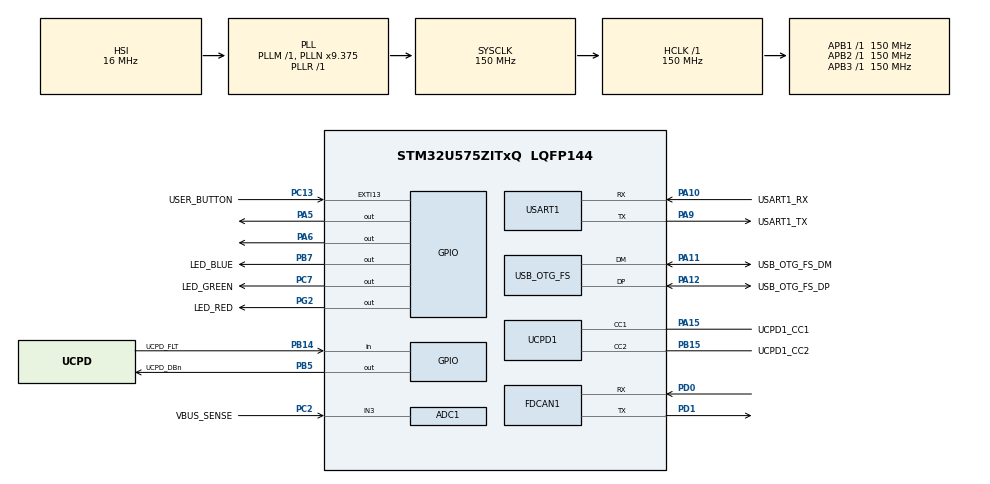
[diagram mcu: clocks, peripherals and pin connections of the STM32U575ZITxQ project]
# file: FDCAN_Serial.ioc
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ADC1.NbrOfConversion=1
ADC1.Resolution=ADC_RESOLUTION_14B
ADC1.master=1
CORTEX_M33_NS.userName=CORTEX_M33
FDCAN1.AutoRetransmission=ENABLE
FDCAN1.CalculateBaudRateNominal=500000
FDCAN1.CalculateTimeBitNominal=2000
FDCAN1.CalculateTimeQuantumNominal=100.0
FDCAN1.DataPrescaler=2
FDCAN1.DataSyncJumpWidth=11
FDCAN1.DataTimeSeg1=13
FDCAN1.DataTimeSeg2=11
FDCAN1.ExtFiltersNbr=1
FDCAN1.FrameFormat=FDCAN_FRAME_FD_BRS
FDCAN1.Mode=FDCAN_MODE_NORMAL
FDCAN1.NominalPrescaler=5
FDCAN1.NominalSyncJumpWidth=3
FDCAN1.NominalTimeSeg1=16
FDCAN1.NominalTimeSeg2=3
FDCAN1.StdFiltersNbr=1
Mcu.Family=STM32U5
Mcu.Name=STM32U575ZITxQ
Mcu.Package=LQFP144
NVIC.FDCAN1_IT0_IRQn=true\:0\:0\:false\:false\:true\:true\:true\:true
NVIC.OTG_FS_IRQn=true\:0\:0\:false\:false\:true\:true\:true\:true
NVIC.PriorityGroup=NVIC_PRIORITYGROUP_3
PA10.GPIO_Label=USART1_RX
PA10.GPIO_PuPd=GPIO_PULLDOWN
PA10.GPIO_Speed=GPIO_SPEED_FREQ_VERY_HIGH
PA10.Mode=Asynchronous
PA10.Signal=USART1_RX
PA11.GPIO_Label=USB_OTG_FS_DM
PA11.GPIO_Speed=GPIO_SPEED_FREQ_VERY_HIGH
PA11.Mode=Device_Only
PA11.Signal=USB_OTG_FS_DM
PA12.GPIO_Label=USB_OTG_FS_DP
PA12.GPIO_Speed=GPIO_SPEED_FREQ_VERY_HIGH
PA12.Mode=Device_Only
PA12.Signal=USB_OTG_FS_DP
PA13\ (JTMS/SWDIO).Mode=Trace_Asynchronous_SW
PA13\ (JTMS/SWDIO).Signal=DEBUG_JTMS-SWDIO
PA14\ (JTCK/SWCLK).Mode=Trace_Asynchronous_SW
PA14\ (JTCK/SWCLK).Signal=DEBUG_JTCK-SWCLK
PA15\ (JTDI).GPIO_Label=UCPD1_CC1
PA15\ (JTDI).Mode=Sink_AllSignals
PA15\ (JTDI).Signal=UCPD1_CC1
PA5.Signal=GPIO_Output
PA6.Signal=GPIO_Output
PA9.GPIO_Label=USART1_TX
PA9.GPIO_PuPd=GPIO_PULLDOWN
PA9.GPIO_Speed=GPIO_SPEED_FREQ_VERY_HIGH
PA9.Mode=Asynchronous
PA9.Signal=USART1_TX
PB14.GPIO_Label=UCPD_FLT
PB14.Signal=GPIO_Input
PB15.GPIO_Label=UCPD1_CC2
PB15.Mode=Sink_AllSignals
PB15.Signal=UCPD1_CC2
PB3\ (JTDO/TRACESWO).Mode=Trace_Asynchronous_SW
PB3\ (JTDO/TRACESWO).Signal=DEBUG_JTDO-SWO
PB5.GPIO_Label=UCPD_DBn
PB5.Signal=GPIO_Output
PB7.GPIO_Label=LED_BLUE
PB7.GPIO_ModeDefaultOutputPP=GPIO_MODE_OUTPUT_PP
PB7.GPIO_PuPd=GPIO_PULLUP
PB7.GPIO_Speed=GPIO_SPEED_FREQ_HIGH
PB7.Signal=GPIO_Output
PC13.GPIO_Label=USER_BUTTON
PC13.GPIO_ModeDefaultEXTI=GPIO_MODE_IT_FALLING
PC13.Signal=GPXTI13
PC14-OSC32_IN\ (PC14).Mode=LSE-External-Oscillator
PC14-OSC32_IN\ (PC14).Signal=RCC_OSC32_IN
PC15-OSC32_OUT\ (PC15).Mode=LSE-External-Oscillator
PC15-OSC32_OUT\ (PC15).Signal=RCC_OSC32_OUT
PC2.GPIO_Label=VBUS_SENSE
PC2.Mode=IN3-Single-Ended
PC2.Signal=ADC1_IN3
PC7.GPIO_Label=LED_GREEN
PC7.GPIO_PuPd=GPIO_PULLUP
PC7.GPIO_Speed=GPIO_SPEED_FREQ_HIGH
PC7.Signal=GPIO_Output
PD0.Mode=FDCAN_Activate
PD0.Signal=FDCAN1_RX
PD1.Mode=FDCAN_Activate
PD1.Signal=FDCAN1_TX
PG2.GPIO_Label=LED_RED
PG2.GPIO_ModeDefaultOutputPP=GPIO_MODE_OUTPUT_PP
PG2.GPIO_PuPd=GPIO_PULLUP
PG2.GPIO_Speed=GPIO_SPEED_FREQ_HIGH
PG2.Signal=GPIO_Output
PWR.PowerMode=PWR_SMPS_SUPPLY
ProjectManager.HeapSize=0x200
ProjectManager.StackSize=0x400
ProjectManager.TargetToolchain=STM32CubeIDE
RCC.ADCFreq_Value=16000000
RCC.AHBFreq_Value=150000000
RCC.APB1Freq_Value=150000000
RCC.APB1TimFreq_Value=150000000
RCC.APB2Freq_Value=150000000
RCC.APB2TimFreq_Value=150000000
RCC.APB3Freq_Value=150000000
RCC.CortexFreq_Value=150000000
RCC.DACCLockSelectionVirtual=RCC_DAC1CLKSOURCE_LSI
RCC.EPOD_VALUE=16000000
RCC.HCLKFreq_Value=150000000
RCC.HSE_VALUE=16000000
RCC.HSI48_VALUE=48000000
RCC.HSI_VALUE=16000000
RCC.LSIDIV_VALUE=32000
RCC.MSI_VALUE=4000000
RCC.PLL1Q=3
RCC.PLL1R=1
RCC.PLLFRACN=3072
RCC.PLLN=9
RCC.PLLSourceVirtual=RCC_PLLSOURCE_HSI
RCC.SYSCLKFreq_VALUE=150000000
RCC.SYSCLKSource=RCC_SYSCLKSOURCE_PLLCLK
RCC.USBFreq_Value=48000000
RCC.VCOOutputFreq_Value=150000000
USART1.VirtualMode-Asynchronous=VM_ASYNC
USB_OTG_FS.VirtualMode=Device_Only
VP_ICACHE_VS_ENABLE_ICACHE_MEMORY.Mode=Memoryregions
VP_ICACHE_VS_ICACHE.Mode=DirectMappedCache
VP_LPBAMQUEUE_VS_QUEUE.Mode=QUEUEMODE
VP_LPBAM_VS_SIG1.Mode=SmartRun
VP_LPBAM_VS_SIG4.Mode=LPDMA1
VP_MEMORYMAP_VS_MEMORYMAP.Mode=CurAppReg
VP_PWR_VS_DBSignals.Mode=DisableDeadBatterySignals
VP_PWR_VS_LPOM.Mode=PowerOptimisation
VP_PWR_VS_SECSignals.Mode=Security/Privilege
VP_PWR_Vdda.Mode=isolationVdda
board=NUCLEO-U575ZI-Q

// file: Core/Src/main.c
	/* USER CODE BEGIN Header */
/**
  ******************************************************************************
  * @file           : main.c
  * @brief          : Main program body
  ******************************************************************************
  * @attention
  *
  * Copyright (c) 2024 STMicroelectronics.
  * All rights reserved.
  *
  * This software is licensed under terms that can be found in the LICENSE file
  * in the root directory of this software component.
  * If no LICENSE file comes with this software, it is provided AS-IS.
  *
  ******************************************************************************
  */
/* USER CODE END Header */
#include "main.h"

/* USER CODE BEGIN Includes */
#include <stdio.h>

/* USER CODE END Includes */

ADC_HandleTypeDef hadc1;

FDCAN_HandleTypeDef hfdcan1;

UART_HandleTypeDef huart1;

PCD_HandleTypeDef hpcd_USB_OTG_FS;

/* USER CODE BEGIN PV */
FDCAN_FilterTypeDef sFilterConfig;
FDCAN_TxHeaderTypeDef TxHeader1;
FDCAN_RxHeaderTypeDef RxHeader1;
FDCAN_RxHeaderTypeDef RxHeader2;
uint8_t RxData1[64];
uint8_t RxData2[64];
HAL_StatusTypeDef CanStartStatus;

char uartBuffer[128];
/* USER CODE END PV */

void SystemClock_Config(void);
static void SystemPower_Config(void);
static void MX_GPIO_Init(void);
static void MX_ADC1_Init(void);
static void MX_ICACHE_Init(void);
static void MX_UCPD1_Init(void);
static void MX_USART1_UART_Init(void);
static void MX_USB_OTG_FS_PCD_Init(void);
static void MX_FDCAN1_Init(void);
/* USER CODE BEGIN PFP */
static uint8_t byte_to_dlc(uint8_t len);
static uint8_t dlc_to_bytes(uint8_t len);
/* USER CODE END PFP */

int main(void)
{

  /* MCU Configuration--------------------------------------------------------*/

  /* Reset of all peripherals, Initializes the Flash interface and the Systick. */
  HAL_Init();

  /* Configure the system clock */
  SystemClock_Config();

  /* Configure the System Power */
  SystemPower_Config();

  /* Initialize all configured peripherals */
  MX_GPIO_Init();
  MX_ADC1_Init();
  MX_ICACHE_Init();
  MX_UCPD1_Init();
  MX_USART1_UART_Init();
  MX_USB_OTG_FS_PCD_Init();
  MX_FDCAN1_Init();
  /* USER CODE BEGIN 2 */

  /* Configure standard ID reception filter to Rx buffer 0 */
  sFilterConfig.IdType = FDCAN_STANDARD_ID;
  sFilterConfig.FilterIndex = 0;
  sFilterConfig.FilterType = FDCAN_FILTER_RANGE;
  sFilterConfig.FilterConfig = FDCAN_FILTER_TO_RXFIFO0;
  sFilterConfig.FilterID1 = 0x000;
  sFilterConfig.FilterID2 = 0x7FF;
  if (HAL_FDCAN_ConfigFilter(&hfdcan1, &sFilterConfig) != HAL_OK)
  {
    Error_Handler();
  }

  /* Configure extended ID reception filter to Rx FIFO 1 */
  sFilterConfig.IdType = FDCAN_EXTENDED_ID;
  sFilterConfig.FilterIndex = 0;
  sFilterConfig.FilterType = FDCAN_FILTER_RANGE_NO_EIDM;
  sFilterConfig.FilterConfig = FDCAN_FILTER_TO_RXFIFO1;
  sFilterConfig.FilterID1 = 0x1111111;
  sFilterConfig.FilterID2 = 0x2222222;
  if (HAL_FDCAN_ConfigFilter(&hfdcan1, &sFilterConfig) != HAL_OK)
  {
    Error_Handler();
  }

  /* Configure global filter:
     Filter all remote frames with STD and EXT ID
     Reject non matching frames with STD ID and EXT ID */
  if (HAL_FDCAN_ConfigGlobalFilter(&hfdcan1, FDCAN_ACCEPT_IN_RX_FIFO0, FDCAN_ACCEPT_IN_RX_FIFO0, FDCAN_FILTER_REMOTE, FDCAN_FILTER_REMOTE) != HAL_OK)
  {
      Error_Handler();
  }

  /*##-2 Start FDCAN controller (continuous listening CAN bus) ##############*/
  CanStartStatus = HAL_FDCAN_Start(&hfdcan1);
  if (CanStartStatus != HAL_OK)
  {
    Error_Handler();
  }

  if (HAL_FDCAN_ActivateNotification(&hfdcan1, FDCAN_IT_RX_FIFO0_NEW_MESSAGE, 0) != HAL_OK)
  {
    Error_Handler();
  }

  if (HAL_FDCAN_ActivateNotification(&hfdcan1, FDCAN_IT_RX_FIFO1_NEW_MESSAGE, 0) != HAL_OK)
  {
    Error_Handler();
  }

  /*##-4 Receive messages ###################################################*/

  char uartLine[128];
  uint8_t canDLC, canData[64];
  uint32_t canID = 0;
//  uint8_t TxDataD[4] = {};
  /* USER CODE END 2 */

  /* Infinite loop */
  while (1)
  {

    /* USER CODE BEGIN 3 */
	while (HAL_GPIO_ReadPin(USER_BUTTON_GPIO_Port, USER_BUTTON_Pin) == GPIO_PIN_SET){

		/* For testing TX: Ask the user to transmit from test board to user board*/
		static const char prompt[] =
		"\r\n Type: <ID> <LEN> <byte0> <byte1> ... (hex) then press ENTER\r\n  ex: 123 5 11 22 33 44 55\r\n> ";
		HAL_UART_Transmit(&huart1,(uint8_t*)prompt,sizeof(prompt)-1,HAL_MAX_DELAY);

		uint8_t  c;
		uint16_t idx = 0;
		while (idx < sizeof(uartLine)-1) {
		    HAL_UART_Receive (&huart1,&c,1,HAL_MAX_DELAY);
		    HAL_UART_Transmit(&huart1,&c,1,HAL_MAX_DELAY);
		    if (c == '\r' || c == '\n') break;
		    uartLine[idx++] = c;
		}
		uartLine[idx] = '\0';

		/* ----------  PARSE ---------- */
		char *token = strtok(uartLine," \t");   /* CAN-ID */
		if (!token) { HAL_UART_Transmit(&huart1,(uint8_t*)"[ERR] Missing ID\r\n",16,HAL_MAX_DELAY); continue; }
		uint32_t id = strtoul(token,NULL,16);
		if (id > 0x7FF){ HAL_UART_Transmit(&huart1,(uint8_t*)"[ERR] Bad ID\r\n",13,HAL_MAX_DELAY);     continue; }

		token = strtok(NULL," \t");
		if (!token){ HAL_UART_Transmit(&huart1,(uint8_t*)"[ERR] Missing LEN\r\n",17,HAL_MAX_DELAY); continue; }
		uint32_t len = strtoul(token,NULL,0);
		if (len>64) { HAL_UART_Transmit(&huart1,(uint8_t*)"[ERR] LEN>64\r\n",14,HAL_MAX_DELAY);      continue; }

		uint8_t canData[64] = {0};
		uint32_t i;
		for (i=0;i<len;i++) {
		    token = strtok(NULL," \t");
		    if (!token) {
		        HAL_UART_Transmit(&huart1,(uint8_t*)"[ERR] Not enough data bytes\r\n",27,HAL_MAX_DELAY);
		    }
		    canData[i] = (uint8_t)strtoul(token,NULL,16);
		}

		/* ----------  BUILD TX HEADER  ---------- */
		TxHeader1.Identifier         = id;
		TxHeader1.IdType             = (id>0x7FF) ? FDCAN_EXTENDED_ID : FDCAN_STANDARD_ID;
		TxHeader1.TxFrameType        = FDCAN_DATA_FRAME;
		TxHeader1.DataLength         = byte_to_dlc((uint8_t)len);  /* HAL expects DLC in bits [19:16] */
		TxHeader1.ErrorStateIndicator= FDCAN_ESI_ACTIVE;
		TxHeader1.BitRateSwitch      = FDCAN_BRS_ON;
		TxHeader1.FDFormat           = FDCAN_FD_CAN;
		TxHeader1.TxEventFifoControl = FDCAN_STORE_TX_EVENTS;

		/* ----------  SEND  ---------- */
		if (HAL_FDCAN_AddMessageToTxFifoQ(&hfdcan1,&TxHeader1,canData)==HAL_OK) {
		    HAL_UART_Transmit(&huart1,(uint8_t*)"\r\n>> CAN frame sent\r\n",20,HAL_MAX_DELAY);
		} else {
		    HAL_UART_Transmit(&huart1,(uint8_t*)"\r\n[ERROR]\r\n",38,HAL_MAX_DELAY);
		}
		/* For testing TX: END*/

        while (HAL_GPIO_ReadPin(USER_BUTTON_GPIO_Port, USER_BUTTON_Pin) == GPIO_PIN_RESET);
	}
  }
  /* USER CODE END 3 */
}

void SystemClock_Config(void)
{
  RCC_OscInitTypeDef RCC_OscInitStruct = {0};
  RCC_ClkInitTypeDef RCC_ClkInitStruct = {0};

  /** Configure the main internal regulator output voltage
  */
  if (HAL_PWREx_ControlVoltageScaling(PWR_REGULATOR_VOLTAGE_SCALE1) != HAL_OK)
  {
    Error_Handler();
  }

  /** Initializes the CPU, AHB and APB buses clocks
  */
  RCC_OscInitStruct.OscillatorType = RCC_OSCILLATORTYPE_HSI48|RCC_OSCILLATORTYPE_HSI;
  RCC_OscInitStruct.HSIState = RCC_HSI_ON;
  RCC_OscInitStruct.HSI48State = RCC_HSI48_ON;
  RCC_OscInitStruct.HSICalibrationValue = RCC_HSICALIBRATION_DEFAULT;
  RCC_OscInitStruct.PLL.PLLState = RCC_PLL_ON;
  RCC_OscInitStruct.PLL.PLLSource = RCC_PLLSOURCE_HSI;
  RCC_OscInitStruct.PLL.PLLMBOOST = RCC_PLLMBOOST_DIV1;
  RCC_OscInitStruct.PLL.PLLM = 1;
  RCC_OscInitStruct.PLL.PLLN = 9;
  RCC_OscInitStruct.PLL.PLLP = 2;
  RCC_OscInitStruct.PLL.PLLQ = 3;
  RCC_OscInitStruct.PLL.PLLR = 1;
  RCC_OscInitStruct.PLL.PLLRGE = RCC_PLLVCIRANGE_1;
  RCC_OscInitStruct.PLL.PLLFRACN = 3072;
  if (HAL_RCC_OscConfig(&RCC_OscInitStruct) != HAL_OK)
  {
    Error_Handler();
  }

  /** Initializes the CPU, AHB and APB buses clocks
  */
  RCC_ClkInitStruct.ClockType = RCC_CLOCKTYPE_HCLK|RCC_CLOCKTYPE_SYSCLK
                              |RCC_CLOCKTYPE_PCLK1|RCC_CLOCKTYPE_PCLK2
                              |RCC_CLOCKTYPE_PCLK3;
  RCC_ClkInitStruct.SYSCLKSource = RCC_SYSCLKSOURCE_PLLCLK;
  RCC_ClkInitStruct.AHBCLKDivider = RCC_SYSCLK_DIV1;
  RCC_ClkInitStruct.APB1CLKDivider = RCC_HCLK_DIV1;
  RCC_ClkInitStruct.APB2CLKDivider = RCC_HCLK_DIV1;
  RCC_ClkInitStruct.APB3CLKDivider = RCC_HCLK_DIV1;

  if (HAL_RCC_ClockConfig(&RCC_ClkInitStruct, FLASH_LATENCY_4) != HAL_OK)
  {
    Error_Handler();
  }
}

/**
  * @brief Power Configuration
  * @retval None
  */
static void SystemPower_Config(void)
{
  HAL_PWREx_EnableVddIO2();

  /*
   * Switch to SMPS regulator instead of LDO
   */
  if (HAL_PWREx_ConfigSupply(PWR_SMPS_SUPPLY) != HAL_OK)
  {
    Error_Handler();
  }
}

static void MX_ADC1_Init(void)
{

  /** Common config
  */
  hadc1.Instance = ADC1;
  hadc1.Init.ClockPrescaler = ADC_CLOCK_ASYNC_DIV1;
  hadc1.Init.Resolution = ADC_RESOLUTION_14B;
  hadc1.Init.GainCompensation = 0;
  hadc1.Init.ScanConvMode = ADC_SCAN_DISABLE;
  hadc1.Init.EOCSelection = ADC_EOC_SINGLE_CONV;
  hadc1.Init.LowPowerAutoWait = DISABLE;
  hadc1.Init.ContinuousConvMode = DISABLE;
  hadc1.Init.NbrOfConversion = 1;
  hadc1.Init.DiscontinuousConvMode = DISABLE;
  hadc1.Init.DMAContinuousRequests = DISABLE;
  hadc1.Init.TriggerFrequencyMode = ADC_TRIGGER_FREQ_HIGH;
  hadc1.Init.Overrun = ADC_OVR_DATA_PRESERVED;
  hadc1.Init.LeftBitShift = ADC_LEFTBITSHIFT_NONE;
  hadc1.Init.ConversionDataManagement = ADC_CONVERSIONDATA_DR;
  hadc1.Init.OversamplingMode = DISABLE;
  if (HAL_ADC_Init(&hadc1) != HAL_OK)
  {
    Error_Handler();
  }

}

static void MX_FDCAN1_Init(void)
{

  hfdcan1.Instance = FDCAN1;
  hfdcan1.Init.ClockDivider = FDCAN_CLOCK_DIV1;
  hfdcan1.Init.FrameFormat = FDCAN_FRAME_FD_BRS;
  hfdcan1.Init.Mode = FDCAN_MODE_NORMAL;
  hfdcan1.Init.AutoRetransmission = ENABLE;
  hfdcan1.Init.TransmitPause = DISABLE;
  hfdcan1.Init.ProtocolException = DISABLE;
  hfdcan1.Init.NominalPrescaler = 5;
  hfdcan1.Init.NominalSyncJumpWidth = 3;
  hfdcan1.Init.NominalTimeSeg1 = 16;
  hfdcan1.Init.NominalTimeSeg2 = 3;
  hfdcan1.Init.DataPrescaler = 2;
  hfdcan1.Init.DataSyncJumpWidth = 11;
  hfdcan1.Init.DataTimeSeg1 = 13;
  hfdcan1.Init.DataTimeSeg2 = 11;
  hfdcan1.Init.StdFiltersNbr = 1;
  hfdcan1.Init.ExtFiltersNbr = 1;
  hfdcan1.Init.TxFifoQueueMode = FDCAN_TX_FIFO_OPERATION;
  if (HAL_FDCAN_Init(&hfdcan1) != HAL_OK)
  {
    Error_Handler();
  }

}

static void MX_ICACHE_Init(void)
{

  /** Enable instruction cache in 1-way (direct mapped cache)
  */
  if (HAL_ICACHE_ConfigAssociativityMode(ICACHE_1WAY) != HAL_OK)
  {
    Error_Handler();
  }
  if (HAL_ICACHE_Enable() != HAL_OK)
  {
    Error_Handler();
  }

}

static void MX_UCPD1_Init(void)
{

  LL_GPIO_InitTypeDef GPIO_InitStruct = {0};

  /* Peripheral clock enable */
  LL_APB1_GRP2_EnableClock(LL_APB1_GRP2_PERIPH_UCPD1);
  LL_AHB2_GRP1_EnableClock(LL_AHB2_GRP1_PERIPH_GPIOB);
  LL_AHB2_GRP1_EnableClock(LL_AHB2_GRP1_PERIPH_GPIOA);
  /**UCPD1 GPIO Configuration
  PB15   ------> UCPD1_CC2
  PA15 (JTDI)   ------> UCPD1_CC1
  */
  GPIO_InitStruct.Pin = LL_GPIO_PIN_15;
  GPIO_InitStruct.Mode = LL_GPIO_MODE_ANALOG;
  GPIO_InitStruct.Pull = LL_GPIO_PULL_NO;
  LL_GPIO_Init(GPIOB, &GPIO_InitStruct);

  GPIO_InitStruct.Pin = LL_GPIO_PIN_15;
  GPIO_InitStruct.Mode = LL_GPIO_MODE_ANALOG;
  GPIO_InitStruct.Pull = LL_GPIO_PULL_NO;
  LL_GPIO_Init(GPIOA, &GPIO_InitStruct);

}

static void MX_USART1_UART_Init(void)
{

  huart1.Instance = USART1;
  huart1.Init.BaudRate = 115200;
  huart1.Init.WordLength = UART_WORDLENGTH_8B;
  huart1.Init.StopBits = UART_STOPBITS_1;
  huart1.Init.Parity = UART_PARITY_NONE;
  huart1.Init.Mode = UART_MODE_TX_RX;
  huart1.Init.HwFlowCtl = UART_HWCONTROL_NONE;
  huart1.Init.OverSampling = UART_OVERSAMPLING_16;
  huart1.Init.OneBitSampling = UART_ONE_BIT_SAMPLE_DISABLE;
  huart1.Init.ClockPrescaler = UART_PRESCALER_DIV1;
  huart1.AdvancedInit.AdvFeatureInit = UART_ADVFEATURE_NO_INIT;
  if (HAL_UART_Init(&huart1) != HAL_OK)
  {
    Error_Handler();
  }
  if (HAL_UARTEx_SetTxFifoThreshold(&huart1, UART_TXFIFO_THRESHOLD_1_8) != HAL_OK)
  {
    Error_Handler();
  }
  if (HAL_UARTEx_SetRxFifoThreshold(&huart1, UART_RXFIFO_THRESHOLD_1_8) != HAL_OK)
  {
    Error_Handler();
  }
  if (HAL_UARTEx_DisableFifoMode(&huart1) != HAL_OK)
  {
    Error_Handler();
  }

}

static void MX_USB_OTG_FS_PCD_Init(void)
{

  hpcd_USB_OTG_FS.Instance = USB_OTG_FS;
  hpcd_USB_OTG_FS.Init.dev_endpoints = 6;
  hpcd_USB_OTG_FS.Init.speed = PCD_SPEED_FULL;
  hpcd_USB_OTG_FS.Init.phy_itface = PCD_PHY_EMBEDDED;
  hpcd_USB_OTG_FS.Init.Sof_enable = DISABLE;
  hpcd_USB_OTG_FS.Init.low_power_enable = DISABLE;
  hpcd_USB_OTG_FS.Init.lpm_enable = DISABLE;
  hpcd_USB_OTG_FS.Init.battery_charging_enable = DISABLE;
  hpcd_USB_OTG_FS.Init.use_dedicated_ep1 = DISABLE;
  hpcd_USB_OTG_FS.Init.vbus_sensing_enable = DISABLE;
  hpcd_USB_OTG_FS.Init.dma_enable = DISABLE;
  if (HAL_PCD_Init(&hpcd_USB_OTG_FS) != HAL_OK)
  {
    Error_Handler();
  }

}

static void MX_GPIO_Init(void)
{
  GPIO_InitTypeDef GPIO_InitStruct = {0};

  /* GPIO Ports Clock Enable */
  __HAL_RCC_GPIOC_CLK_ENABLE();
  __HAL_RCC_GPIOA_CLK_ENABLE();
  __HAL_RCC_GPIOB_CLK_ENABLE();
  __HAL_RCC_GPIOG_CLK_ENABLE();
  __HAL_RCC_GPIOD_CLK_ENABLE();

  /*Configure GPIO pin Output Level */
  HAL_GPIO_WritePin(GPIOA, GPIO_PIN_5|GPIO_PIN_6, GPIO_PIN_RESET);

  /*Configure GPIO pin Output Level */
  HAL_GPIO_WritePin(LED_RED_GPIO_Port, LED_RED_Pin, GPIO_PIN_RESET);

  /*Configure GPIO pin Output Level */
  HAL_GPIO_WritePin(LED_GREEN_GPIO_Port, LED_GREEN_Pin, GPIO_PIN_RESET);

  /*Configure GPIO pin Output Level */
  HAL_GPIO_WritePin(GPIOB, UCPD_DBn_Pin|LED_BLUE_Pin, GPIO_PIN_RESET);

  /*Configure GPIO pin : USER_BUTTON_Pin */
  GPIO_InitStruct.Pin = USER_BUTTON_Pin;
  GPIO_InitStruct.Mode = GPIO_MODE_IT_FALLING;
  GPIO_InitStruct.Pull = GPIO_NOPULL;
  HAL_GPIO_Init(USER_BUTTON_GPIO_Port, &GPIO_InitStruct);

  /*Configure GPIO pins : PA5 PA6 */
  GPIO_InitStruct.Pin = GPIO_PIN_5|GPIO_PIN_6;
  GPIO_InitStruct.Mode = GPIO_MODE_OUTPUT_PP;
  GPIO_InitStruct.Pull = GPIO_NOPULL;
  GPIO_InitStruct.Speed = GPIO_SPEED_FREQ_LOW;
  HAL_GPIO_Init(GPIOA, &GPIO_InitStruct);

  /*Configure GPIO pin : UCPD_FLT_Pin */
  GPIO_InitStruct.Pin = UCPD_FLT_Pin;
  GPIO_InitStruct.Mode = GPIO_MODE_INPUT;
  GPIO_InitStruct.Pull = GPIO_NOPULL;
  HAL_GPIO_Init(UCPD_FLT_GPIO_Port, &GPIO_InitStruct);

  /*Configure GPIO pin : LED_RED_Pin */
  GPIO_InitStruct.Pin = LED_RED_Pin;
  GPIO_InitStruct.Mode = GPIO_MODE_OUTPUT_PP;
  GPIO_InitStruct.Pull = GPIO_PULLUP;
  GPIO_InitStruct.Speed = GPIO_SPEED_FREQ_HIGH;
  HAL_GPIO_Init(LED_RED_GPIO_Port, &GPIO_InitStruct);

  /*Configure GPIO pin : LED_GREEN_Pin */
  GPIO_InitStruct.Pin = LED_GREEN_Pin;
  GPIO_InitStruct.Mode = GPIO_MODE_OUTPUT_PP;
  GPIO_InitStruct.Pull = GPIO_PULLUP;
  GPIO_InitStruct.Speed = GPIO_SPEED_FREQ_HIGH;
  HAL_GPIO_Init(LED_GREEN_GPIO_Port, &GPIO_InitStruct);

  /*Configure GPIO pin : UCPD_DBn_Pin */
  GPIO_InitStruct.Pin = UCPD_DBn_Pin;
  GPIO_InitStruct.Mode = GPIO_MODE_OUTPUT_PP;
  GPIO_InitStruct.Pull = GPIO_NOPULL;
  GPIO_InitStruct.Speed = GPIO_SPEED_FREQ_LOW;
  HAL_GPIO_Init(UCPD_DBn_GPIO_Port, &GPIO_InitStruct);

  /*Configure GPIO pin : LED_BLUE_Pin */
  GPIO_InitStruct.Pin = LED_BLUE_Pin;
  GPIO_InitStruct.Mode = GPIO_MODE_OUTPUT_PP;
  GPIO_InitStruct.Pull = GPIO_PULLUP;
  GPIO_InitStruct.Speed = GPIO_SPEED_FREQ_HIGH;
  HAL_GPIO_Init(LED_BLUE_GPIO_Port, &GPIO_InitStruct);

}

/* USER CODE BEGIN 4 */
/* DLC to bytes lookup */
static uint8_t dlc_to_bytes(uint8_t dlc) {
    static const uint8_t dlc_lut[16] = {
        0, 1, 2, 3, 4, 5, 6, 7, 8, 12, 16, 20, 24, 32, 48, 64
    };
    return dlc_lut[dlc & 0x0F];
}

static uint8_t byte_to_dlc(uint8_t len) {
	if (len <= 8) return len;
    else if (len == 12) return 9;
    else if (len == 16) return 10;
    else if (len == 20) return 11;
    else if (len == 24) return 12;
    else if (len == 32) return 13;
    else if (len == 48) return 14;
    else return 15;
}

/**
  * @brief  Rx FIFO 0 callback.
  * @param  hfdcan: pointer to an FDCAN_HandleTypeDef structure that contains
  *         the configuration information for the specified FDCAN.
  * @param  RxFifo0ITs: indicates which Rx FIFO 0 interrupts are signalled.
  *         This parameter can be any combination of @arg FDCAN_Rx_Fifo0_Interrupts.
  * @retval None
  */
void HAL_FDCAN_RxFifo0Callback(FDCAN_HandleTypeDef *hfdcan, uint32_t RxFifo0ITs)
{
  if((RxFifo0ITs & FDCAN_IT_RX_FIFO0_NEW_MESSAGE) != RESET)
  {
    /* Retrieve Rx messages from RX FIFO0 */
    if (HAL_FDCAN_GetRxMessage(hfdcan, FDCAN_RX_FIFO0, &RxHeader1, RxData1) != HAL_OK)
    {
		Error_Handler();
		HAL_GPIO_WritePin(GPIOG, GPIO_PIN_2, GPIO_PIN_RESET);
    }

    /* For testing: To print to terminal */
    uint8_t length = dlc_to_bytes(RxHeader1.DataLength);

    snprintf(uartBuffer, sizeof(uartBuffer),
			"\r\nReceived CAN Frame:\r\nID: 0x%X\r\nLength: %lu\r\nData: ",
			RxHeader1.Identifier, length);

	HAL_UART_Transmit(&huart1, (uint8_t *)uartBuffer, strlen(uartBuffer), HAL_MAX_DELAY);
	for (uint8_t i = 0; i < length; i++) {
		snprintf(uartBuffer, sizeof(uartBuffer), "0x%X ", RxData1[i]);
		HAL_UART_Transmit(&huart1, (uint8_t *)uartBuffer, strlen(uartBuffer), HAL_MAX_DELAY);
	}

	HAL_UART_Transmit(&huart1, (uint8_t *)"\r\n", 2, HAL_MAX_DELAY);
	/* For testing: END*/

  }

  HAL_GPIO_WritePin(GPIOC, GPIO_PIN_7, GPIO_PIN_SET);
}

void HAL_FDCAN_RxFifo1Callback(FDCAN_HandleTypeDef *hfdcan, uint32_t RxFifo1ITs)
{
  if((RxFifo1ITs & FDCAN_IT_RX_FIFO1_NEW_MESSAGE) != RESET)
  {
    /* Retrieve Rx messages from RX FIFO0 */
    if (HAL_FDCAN_GetRxMessage(hfdcan, FDCAN_RX_FIFO1, &RxHeader2, RxData2) != HAL_OK)
    {
		Error_Handler();
		HAL_GPIO_WritePin(GPIOG, GPIO_PIN_2, GPIO_PIN_RESET);
    }
  }

  HAL_GPIO_WritePin(GPIOC, GPIO_PIN_7, GPIO_PIN_SET);
}

/* USER CODE END 4 */

void Error_Handler(void)
{
  __disable_irq();
  while (1)
  {
  }
}
